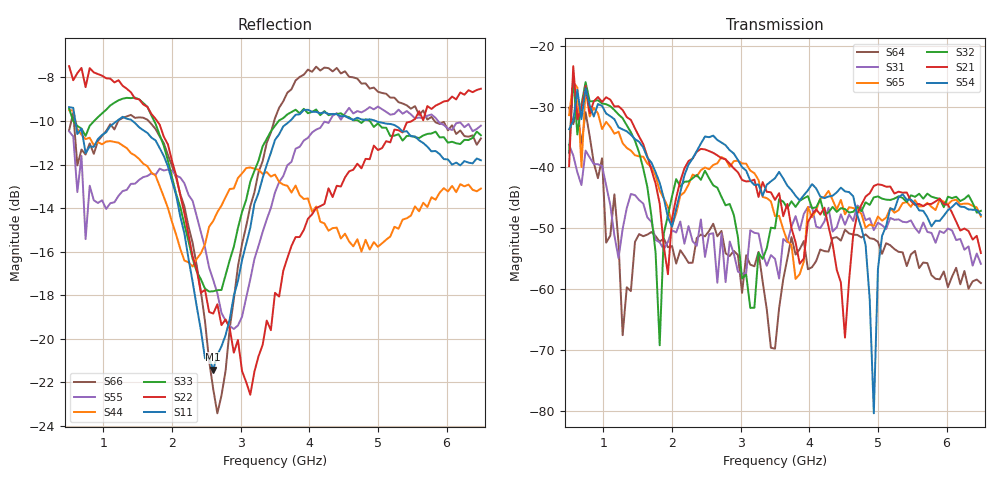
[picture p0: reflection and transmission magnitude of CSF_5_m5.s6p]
!Keysight Technologies,M9804A,MY58100912,A.14.10.03
!Date: Thursday, April 27, 2023 10:28:33
!Correction: S11(C  6-Port  )
!S12(C  6-Port  )
!S13(C  6-Port  )
!S14(C  6-Port  )
!S15(C  6-Port  )
!S16(C  6-Port  )
!S21(C  6-Port  )
!S22(C  6-Port  )
!S23(C  6-Port  )
!S24(C  6-Port  )
!S25(C  6-Port  )
!S26(C  6-Port  )
!S31(C  6-Port  )
!S32(C  6-Port  )
!S33(C  6-Port  )
!S34(C  6-Port  )
!S35(C  6-Port  )
!S36(C  6-Port  )
!S41(C  6-Port  )
!S42(C  6-Port  )
!S43(C  6-Port  )
!S44(C  6-Port  )
!S45(C  6-Port  )
!S46(C  6-Port  )
!S51(C  6-Port  )
!S52(C  6-Port  )
!S53(C  6-Port  )
!S54(C  6-Port  )
!S55(C  6-Port  )
!S56(C  6-Port  )
!S61(C  6-Port  )
!S62(C  6-Port  )
!S63(C  6-Port  )
!S64(C  6-Port  )
!S65(C  6-Port  )
!S66(C  6-Port  )
!S6P File: Measurement: :
# Hz S  RI  R 50
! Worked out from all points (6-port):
!   101 points, 500 MHz to 6.5 GHz, reference 50 ohm
!   strongest paths, dB at 500 MHz, 2 GHz, 3.5 GHz, 5 GHz, 6.5 GHz:
!     S54: -33.7, -49.8, -41.8, -56.7, -47.8
!     S21: -39.8, -48.4, -45.3, -42.8, -54.1
!     S32: -37.6, -44.7, -50.0, -44.8, -47.1
!     S65: -31.4, -49.6, -48.0, -48.1, -48.1
!     S31: -36.3, -50.3, -55.0, -49.1, -55.9
!     S64: -30.2, -52.9, -69.8, -52.2, -59.0
!   lowest |S11| = -21.4 dB at 2.6 GHz (marker M1), VSWR 1.19, Z = 42.4 + j2.13 ohm
!   |S11| at or under -10 dB: 590.1 MHz to 1.197 GHz (606.8 MHz wide, 67.9 % of centre); 1.424 GHz to 3.717 GHz (2.294 GHz wide, 89.2 % of centre); 4.967 GHz to end of sweep
